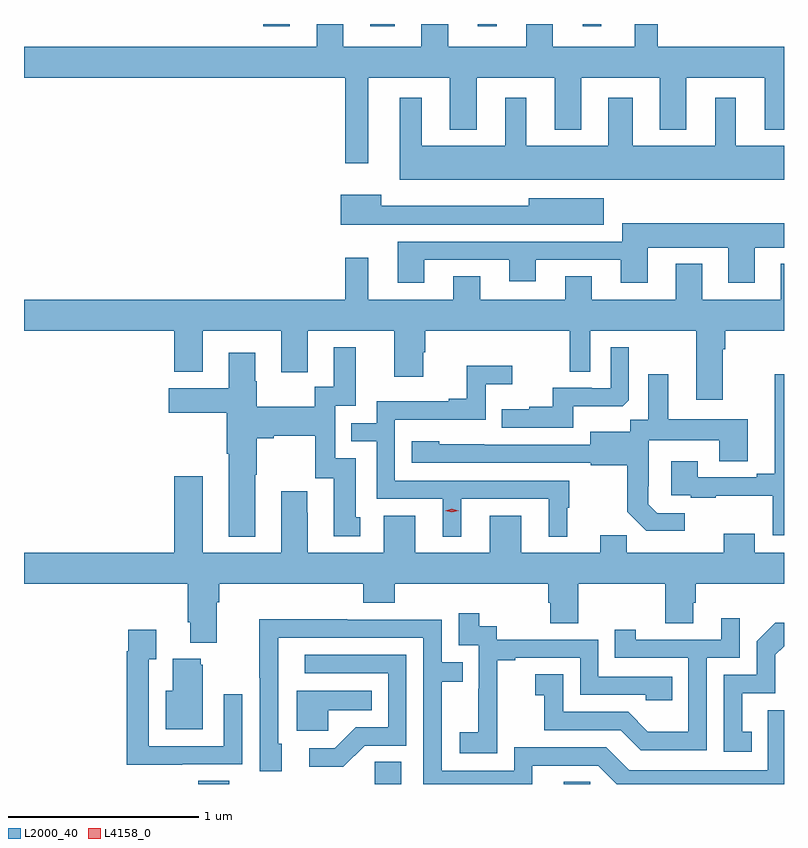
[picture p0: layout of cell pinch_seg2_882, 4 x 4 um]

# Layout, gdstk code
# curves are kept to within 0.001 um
import gdstk
lib = gdstk.Library(unit=1e-6, precision=1e-09)
def R(c, l, rs):  # rectangles x0, y0, x1, y1
    for r in rs: c.add(gdstk.rectangle(r[:2], r[2:], *l))
def P(c, l, *ps):  # polygons
    for p in ps: c.add(gdstk.Polygon(p, *l))
L2000_40 = (2000, 40)
L4158_0 = (4158, 0)

pinch_seg2_882 = lib.new_cell('pinch_seg2_882')
R(pinch_seg2_882, L2000_40, [(411.689,598.631,411.854,598.649), (412.62,598.631,412.759,598.748), (413.615,598.631,413.754,598.643), (412.031,602.619,412.171,602.631), (412.595,602.619,412.723,602.631), (413.162,602.619,413.26,602.631), (413.714,602.619,413.812,602.631)])
P(pinch_seg2_882, L2000_40, [(412.585,602.348),(413.015,602.348),(413.015,602.075),(413.155,602.075),(413.155,602.348),(413.567,602.348),(413.567,602.075),(413.707,602.075),(413.707,602.348),(414.119,602.348),(414.119,602.075),(414.259,602.075),(414.259,602.348),(414.671,602.348),(414.671,602.075),(414.773,602.075),(414.773,602.512),(414.109,602.512),(414.109,602.631),(413.987,602.631),(413.987,602.512),(413.557,602.512),(413.557,602.631),(413.417,602.631),(413.417,602.512),(413.005,602.512),(413.005,602.631),(412.865,602.631),(412.865,602.512),(412.453,602.512),(412.453,602.631),(412.313,602.631),(412.313,602.512),(410.773,602.512),(410.773,602.348),(412.464,602.348),(412.464,601.899),(412.585,601.899)],
  [(414.773,601.99),(414.52,601.99),(414.52,602.242),(414.41,602.242),(414.41,601.99),(413.977,601.99),(413.977,602.242),(413.849,602.242),(413.849,601.99),(413.416,601.99),(413.416,602.242),(413.306,602.242),(413.306,601.99),(412.867,601.99),(412.867,602.242),(412.751,602.242),(412.751,601.811),(414.773,601.811)],
  [(413.824,601.714),(413.429,601.714),(413.429,601.675),(412.654,601.675),(412.654,601.732),(412.44,601.732),(412.44,601.574),(413.824,601.574)],
  [(412.879,601.389),(413.327,601.389),(413.327,601.277),(413.467,601.277),(413.467,601.389),(413.915,601.389),(413.915,601.269),(414.055,601.269),(414.055,601.454),(414.479,601.454),(414.479,601.269),(414.619,601.269),(414.619,601.454),(414.773,601.454),(414.773,601.582),(413.921,601.582),(413.921,601.485),(412.739,601.485),(412.739,601.269),(412.879,601.269)],
  [(414.451,600.92),(414.464,600.92),(414.464,601.016),(414.773,601.016),(414.773,601.369),(414.755,601.369),(414.755,601.18),(414.343,601.18),(414.343,601.369),(414.203,601.369),(414.203,601.18),(413.761,601.18),(413.761,601.304),(413.621,601.304),(413.621,601.18),(413.173,601.18),(413.173,601.304),(413.033,601.304),(413.033,601.18),(412.585,601.18),(412.585,601.402),(412.464,601.402),(412.464,601.18),(410.773,601.18),(410.773,601.016),(411.563,601.016),(411.563,600.8),(411.715,600.8),(411.715,601.016),(412.127,601.016),(412.127,600.798),(412.267,600.798),(412.267,601.016),(412.721,601.016),(412.721,600.774),(412.873,600.774),(412.873,600.903),(412.886,600.903),(412.886,601.016),(413.646,601.016),(413.646,600.802),(413.754,600.802),(413.754,601.016),(414.311,601.016),(414.311,600.654),(414.451,600.654)],
  [(413.665,600.62),(413.923,600.62),(413.955,600.651),(413.955,600.931),(413.862,600.931),(413.862,600.714),(413.762,600.714),(413.762,600.717),(413.555,600.717),(413.555,600.616),(413.431,600.616),(413.431,600.604),(413.287,600.604),(413.287,600.507),(413.665,600.507)],
  [(411.991,600.259),(411.999,600.259),(411.999,600.452),(412.087,600.452),(412.087,600.464),(412.307,600.464),(412.307,600.24),(412.403,600.24),(412.403,599.934),(412.543,599.934),(412.543,600.036),(412.519,600.036),(412.519,600.345),(412.41,600.345),(412.41,600.621),(412.519,600.621),(412.519,600.931),(412.403,600.931),(412.403,600.722),(412.302,600.722),(412.302,600.616),(411.999,600.616),(411.999,600.75),(411.991,600.75),(411.991,600.901),(411.851,600.901),(411.851,600.715),(411.534,600.715),(411.534,600.586),(411.839,600.586),(411.839,600.368),(411.851,600.368),(411.851,599.933),(411.991,599.933)],
  [(413.074,600.132),(413.534,600.132),(413.534,599.933),(413.632,599.933),(413.632,600.084),(413.644,600.084),(413.644,600.228),(412.725,600.228),(412.725,600.549),(413.202,600.549),(413.202,600.734),(413.344,600.734),(413.344,600.833),(413.104,600.833),(413.104,600.658),(413.009,600.658),(413.009,600.645),(412.629,600.645),(412.629,600.531),(412.495,600.531),(412.495,600.435),(412.629,600.435),(412.629,600.132),(412.976,600.132),(412.976,599.933),(413.074,599.933)],
  [(414.773,600.787),(414.725,600.787),(414.725,600.265),(414.629,600.265),(414.629,600.246),(414.319,600.246),(414.319,600.331),(414.179,600.331),(414.179,600.15),(414.283,600.15),(414.283,600.138),(414.415,600.138),(414.415,600.149),(414.714,600.149),(414.714,599.94),(414.773,599.94)],
  [(414.25,600.057),(414.105,600.057),(414.058,600.104),(414.058,600.199),(414.06,600.199),(414.06,600.44),(414.431,600.44),(414.431,600.331),(414.583,600.331),(414.583,600.55),(414.163,600.55),(414.163,600.787),(414.059,600.787),(414.059,600.548),(413.964,600.548),(413.964,600.484),(413.753,600.484),(413.753,600.417),(412.959,600.418),(412.959,600.436),(412.815,600.436),(412.815,600.321),(413.757,600.321),(413.757,600.309),(413.949,600.309),(413.949,600.063),(414.049,599.963),(414.25,599.963)],
  [(413.531,599.586),(413.543,599.586),(413.543,599.476),(413.691,599.476),(413.691,599.684),(414.148,599.684),(414.148,599.476),(414.295,599.476),(414.295,599.586),(414.308,599.586),(414.308,599.684),(414.773,599.684),(414.773,599.848),(414.619,599.848),(414.619,599.947),(414.455,599.947),(414.455,599.848),(413.945,599.848),(413.945,599.939),(413.807,599.939),(413.807,599.848),(413.389,599.848),(413.389,600.043),(413.225,600.043),(413.225,599.848),(412.831,599.848),(412.831,600.043),(412.667,600.043),(412.667,599.848),(412.267,599.848),(412.267,600.059),(412.264,600.059),(412.264,600.172),(412.127,600.172),(412.127,599.848),(411.715,599.848),(411.715,600.25),(411.563,600.25),(411.563,599.848),(410.773,599.848),(410.773,599.684),(411.635,599.684),(411.635,599.482),(411.647,599.482),(411.647,599.375),(411.787,599.375),(411.787,599.588),(411.8,599.588),(411.8,599.684),(412.559,599.684),(412.559,599.585),(412.724,599.585),(412.724,599.684),(413.531,599.684)],
  [(413.265,598.999),(413.264,598.999),(413.264,599.283),(413.359,599.283),(413.359,599.295),(413.7,599.295),(413.7,599.1),(414.045,599.1),(414.045,599.073),(414.185,599.073),(414.185,599.196),(413.796,599.196),(413.796,599.391),(413.262,599.391),(413.262,599.46),(413.17,599.46),(413.17,599.53),(413.061,599.53),(413.061,599.361),(413.166,599.361),(413.166,599.132),(413.165,599.132),(413.165,598.903),(413.067,598.903),(413.067,598.793),(413.265,598.793)],
  [(414.366,599.295),(414.54,599.295),(414.54,599.503),(414.443,599.503),(414.443,599.391),(413.992,599.391),(413.992,599.443),(413.881,599.443),(413.881,599.295),(414.27,599.295),(414.27,598.906),(414.056,598.906),(413.952,599.01),(413.61,599.01),(413.61,599.209),(413.463,599.209),(413.463,599.099),(413.512,599.099),(413.512,598.914),(413.915,598.914),(414.02,598.809),(414.366,598.809)],
  [(413.449,598.728),(413.796,598.728),(413.893,598.631),(414.773,598.631),(414.773,599.019),(414.687,599.019),(414.687,598.704),(413.958,598.704),(413.838,598.824),(413.352,598.824),(413.352,598.701),(412.971,598.701),(412.971,599.17),(413.081,599.17),(413.081,599.271),(412.971,599.271),(412.971,599.496),(412.475,599.496),(412.475,599.498),(412.012,599.498),(412.012,599.191),(412.014,599.191),(412.014,598.698),(412.129,598.698),(412.129,598.842),(412.11,598.842),(412.111,599.4),(412.875,599.4),(412.875,598.631),(413.449,598.631)],
  [(414.602,598.905),(414.553,598.905),(414.553,599.109),(414.726,599.109),(414.726,599.31),(414.773,599.357),(414.773,599.48),(414.728,599.48),(414.63,599.382),(414.63,599.205),(414.456,599.205),(414.456,598.8),(414.602,598.8)],
  [(411.605,598.734),(411.921,598.734),(411.921,599.104),(411.825,599.104),(411.825,598.83),(411.429,598.83),(411.429,599.287),(411.469,599.287),(411.469,599.443),(411.321,599.443),(411.321,599.33),(411.313,599.33),(411.313,598.733),(411.605,598.733)],
  [(412.566,598.833),(412.785,598.833),(412.785,599.31),(412.251,599.31),(412.251,599.214),(412.689,599.214),(412.689,598.929),(412.52,598.929),(412.409,598.818),(412.275,598.818),(412.275,598.721),(412.453,598.721)],
  [(411.715,599.259),(411.704,599.259),(411.704,599.29),(411.557,599.29),(411.557,599.122),(411.518,599.122),(411.518,598.919),(411.715,598.919)],
  [(412.374,599.018),(412.604,599.018),(412.604,599.122),(412.208,599.122),(412.208,598.91),(412.374,598.91)])
P(pinch_seg2_882, L4158_0, [(413.025,600.06),(412.989,600.07),(412.989,600.07),(412.989,600.07),(413.025,600.08),(413.061,600.07),(413.061,600.07),(413.061,600.07)])

lib.write_gds('pinch_seg2_882.gds')
